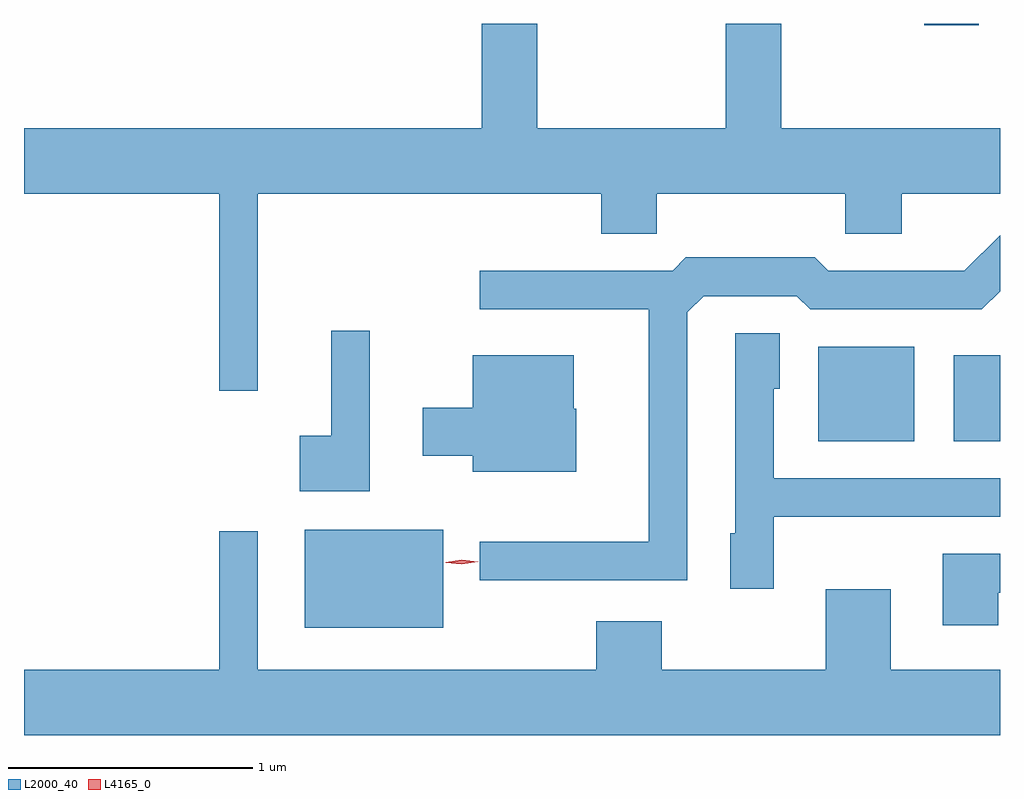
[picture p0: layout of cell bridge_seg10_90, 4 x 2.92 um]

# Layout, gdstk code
import gdstk
lib = gdstk.Library(unit=1e-6, precision=1e-09)
def R(c, l, rs):  # rectangles x0, y0, x1, y1
    for r in rs: c.add(gdstk.rectangle(r[:2], r[2:], *l))
def P(c, l, *ps):  # polygons
    for p in ps: c.add(gdstk.Polygon(p, *l))
L2000_40 = (2000, 40)
L4165_0 = (4165, 0)

bridge_seg10_90 = lib.new_cell('bridge_seg10_90')
R(bridge_seg10_90, L2000_40, [(1498.126,2156.536,1498.694,2156.939), (1500.231,2157.301,1500.624,2157.689), (1500.786,2157.301,1500.976,2157.654), (1500.666,2159.006,1500.889,2159.012)])
P(bridge_seg10_90, L2000_40, [(1497.934,2158.316),(1499.341,2158.316),(1499.341,2158.151),(1499.569,2158.151),(1499.569,2158.316),(1500.341,2158.316),(1500.341,2158.151),(1500.574,2158.151),(1500.574,2158.316),(1500.976,2158.316),(1500.976,2158.584),(1500.079,2158.584),(1500.079,2159.012),(1499.851,2159.012),(1499.851,2158.584),(1499.079,2158.584),(1499.079,2159.012),(1498.851,2159.012),(1498.851,2158.584),(1496.976,2158.584),(1496.976,2158.316),(1497.776,2158.316),(1497.776,2157.508),(1497.934,2157.508)],
  [(1499.694,2157.829),(1499.762,2157.896),(1500.144,2157.896),(1500.199,2157.841),(1500.902,2157.841),(1500.976,2157.915),(1500.976,2158.146),(1500.829,2157.999),(1500.272,2157.999),(1500.217,2158.054),(1499.689,2158.054),(1499.634,2157.999),(1498.843,2157.999),(1498.843,2157.841),(1499.536,2157.841),(1499.536,2156.889),(1498.843,2156.889),(1498.843,2156.731),(1499.694,2156.731)],
  [(1498.394,2157.753),(1498.236,2157.753),(1498.236,2157.324),(1498.106,2157.324),(1498.106,2157.096),(1498.394,2157.096)],
  [(1500.049,2156.991),(1500.976,2156.991),(1500.976,2157.149),(1500.049,2157.149),(1500.049,2157.516),(1500.074,2157.516),(1500.074,2157.744),(1499.891,2157.744),(1499.891,2156.924),(1499.871,2156.924),(1499.871,2156.696),(1500.049,2156.696)],
  [(1499.239,2157.435),(1499.229,2157.435),(1499.229,2157.654),(1498.816,2157.654),(1498.816,2157.439),(1498.611,2157.439),(1498.611,2157.241),(1498.816,2157.241),(1498.816,2157.176),(1499.239,2157.176)],
  [(1500.976,2156.364),(1500.529,2156.364),(1500.529,2156.694),(1500.261,2156.694),(1500.261,2156.364),(1499.589,2156.364),(1499.589,2156.564),(1499.321,2156.564),(1499.321,2156.364),(1497.934,2156.364),(1497.934,2156.933),(1497.776,2156.933),(1497.776,2156.364),(1496.976,2156.364),(1496.976,2156.096),(1500.976,2156.096)],
  [(1500.969,2156.681),(1500.976,2156.681),(1500.976,2156.839),(1500.741,2156.839),(1500.741,2156.546),(1500.969,2156.546)])
P(bridge_seg10_90, L4165_0, [(1498.771,2156.796),(1498.704,2156.804),(1498.704,2156.805),(1498.704,2156.805),(1498.77,2156.816),(1498.836,2156.808),(1498.837,2156.807),(1498.836,2156.807)])

lib.write_gds('bridge_seg10_90.gds')
